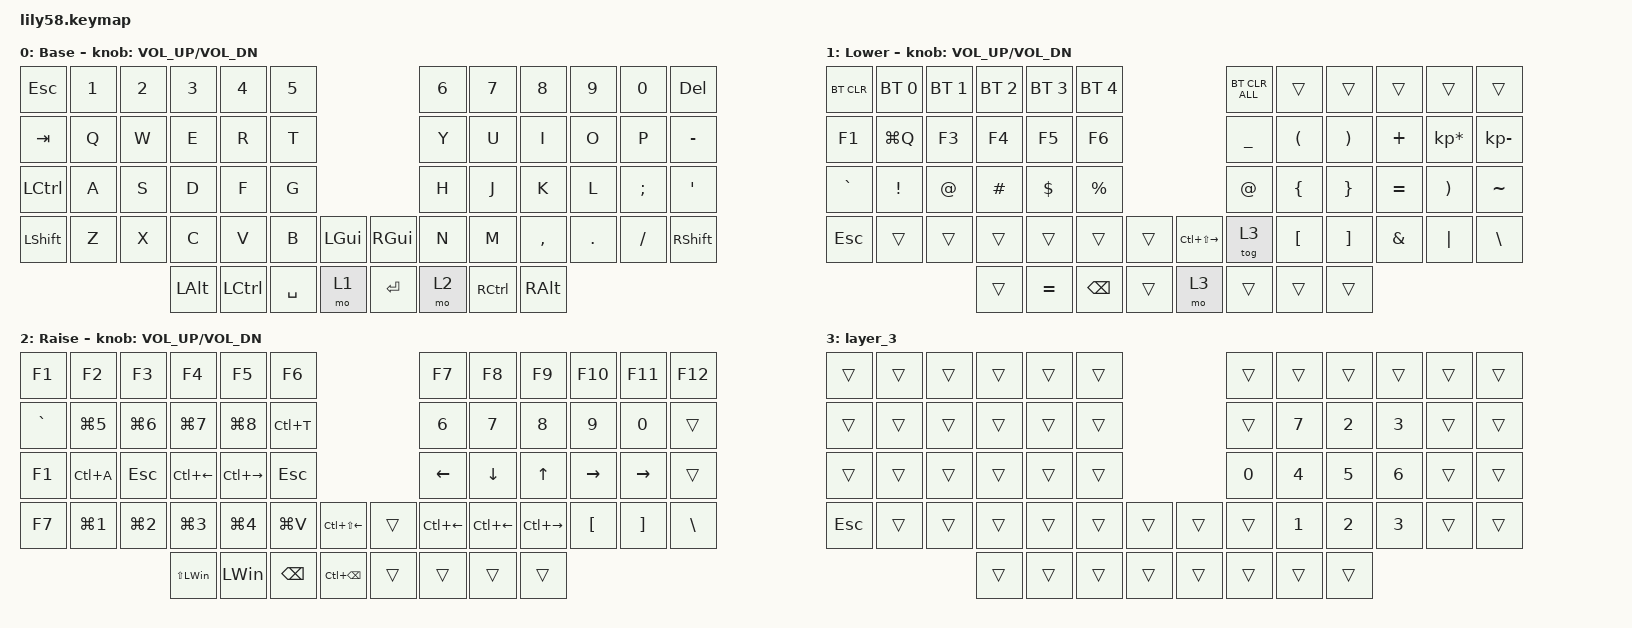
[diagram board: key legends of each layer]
/*
 * Copyright (c) 2020 The ZMK Contributors
 *
 * SPDX-License-Identifier: MIT
 */

#include <behaviors.dtsi>
#include <dt-bindings/zmk/bt.h>
#include <dt-bindings/zmk/keys.h>

/ {
    keymap {
        compatible = "zmk,keymap";

        default_layer {
            // ------------------------------------------------------------------------------------------------------------
            // |  ESC  |  1  |  2  |  3   |  4   |  5   |                   |  6   |  7    |  8    |  9   |   0   |   `   |
            // |  TAB  |  Q  |  W  |  E   |  R   |  T   |                   |  Y   |  U    |  I    |  O   |   P   |   -   |
            // |  CTRL |  A  |  S  |  D   |  F   |  G   |                   |  H   |  J    |  K    |  L   |   ;   |   '   |
            // | SHIFT |  Z  |  X  |  C   |  V   |  B   |   "["  |  |  "]"  |  N   |  M    |  ,    |  .   |   /   | SHIFT |
            //                     | ALT  | GUI  | LOWER|  SPACE |  | ENTER | RAISE| BSPC  | GUI   |

            display-name = "Base";
            bindings = <
&kp ESC    &kp N1  &kp N2  &kp N3        &kp N4            &kp N5                                    &kp N6  &kp N7             &kp N8         &kp N9   &kp N0    &kp DEL
&kp TAB    &kp Q   &kp W   &kp E         &kp R             &kp T                                     &kp Y   &kp U              &kp I          &kp O    &kp P     &kp MINUS
&kp LCTRL  &kp A   &kp S   &kp D         &kp F             &kp G                                     &kp H   &kp J              &kp K          &kp L    &kp SEMI  &kp SQT
&kp LSHFT  &kp Z   &kp X   &kp C         &kp V             &kp B      &kp LEFT_GUI    &kp RIGHT_GUI  &kp N   &kp M              &kp COMMA      &kp DOT  &kp FSLH  &kp RSHFT
                           &kp LEFT_ALT  &kp LEFT_CONTROL  &kp SPACE  &mo 1           &kp RET        &mo 2   &kp RIGHT_CONTROL  &kp RIGHT_ALT
            >;

            sensor-bindings = <&inc_dec_kp C_VOL_UP C_VOL_DN>;
        };

        lower_layer {
            // ------------------------------------------------------------------------------------------------------------
            // | BTCLR | BT1 | BT2 |  BT3 |  BT4 |  BT5 |                   |      |       |       |      |       |       |
            // |  F1   |  F2 |  F3 |  F4  |  F5  |  F6  |                   |  F7  |  F8   |  F9   |  F10 |  F11  |  F12  |
            // |   `   |  !  |  @  |  #   |  $   |  %   |                   |  ^   |  &    |  *    |  (   |   )   |   ~   |
            // |       |     |     |      |      |      |        |  |       |      |  _    |  +    |  {   |   }   |  "|"  |
            //                     |      |      |      |        |  |       |      |       |       |

            display-name = "Lower";
            bindings = <
&bt BT_CLR  &bt BT_SEL 0  &bt BT_SEL 1  &bt BT_SEL 2  &bt BT_SEL 3  &bt BT_SEL 4                                &bt BT_CLR_ALL  &trans                &trans                 &trans         &trans           &trans
&kp F1      &kp LG(Q)     &kp F3        &kp F4        &kp F5        &kp F6                                      &kp UNDER       &kp LEFT_PARENTHESIS  &kp RIGHT_PARENTHESIS  &kp PLUS       &kp KP_MULTIPLY  &kp KP_MINUS
&kp GRAVE   &kp EXCL      &kp AT        &kp HASH      &kp DOLLAR    &kp PRCNT                                   &kp AT          &kp LEFT_BRACE        &kp RIGHT_BRACE        &kp EQUAL      &kp RPAR         &kp TILDE
&kp ESC     &trans        &trans        &trans        &trans        &trans         &trans    &kp LC(LS(RIGHT))  &tog 3          &kp LEFT_BRACKET      &kp RIGHT_BRACKET      &kp AMPERSAND  &kp PIPE         &kp BACKSLASH
                                        &trans        &kp EQUAL     &kp BACKSPACE  &trans    &mo 3              &trans          &trans                &trans
            >;

            sensor-bindings = <&inc_dec_kp C_VOL_UP C_VOL_DN>;
        };

        raise_layer {
            // ------------------------------------------------------------------------------------------------------------
            // |       |     |     |      |      |      |                   |      |       |       |      |       |       |
            // |   `   |  1  |  2  |  3   |  4   |  5   |                   |  6   |   7   |   8   |  9   |   0   |       |
            // |   F1  |  F2 |  F3 |  F4  |  F5  |  F6  |                   |      |   <-  |   v   |  ^   |  ->   |       |
            // |   F7  |  F8 |  F9 |  F10 |  F11 |  F12 |        |  |       |  +   |   -   |   =   |  [   |   ]   |   \   |
            //                     |      |      |      |        |  |       |      |       |       |

            display-name = "Raise";
            bindings = <
&kp F1     &kp F2            &kp F3            &kp F4            &kp F5            &kp F6                                           &kp F7              &kp F8        &kp F9         &kp F10    &kp F11    &kp F12
&kp GRAVE  &kp LG(N5)        &kp LG(NUMBER_6)  &kp LG(N7)        &kp LG(N8)        &kp LC(T)                                        &kp N6              &kp N7        &kp N8         &kp N9     &kp N0     &trans
&kp F1     &kp LC(A)         &kp ESC           &kp LC(LEFT)      &kp LC(RIGHT)     &kp ESCAPE                                       &kp LEFT            &kp DOWN      &kp UP_ARROW   &kp RIGHT  &kp RIGHT  &trans
&kp F7     &kp LG(NUMBER_1)  &kp LG(NUMBER_2)  &kp LG(NUMBER_3)  &kp LG(NUMBER_4)  &kp LG(V)      &kp LC(LS(LEFT_ARROW))    &trans  &kp LC(LEFT_ARROW)  &kp LC(LEFT)  &kp LC(RIGHT)  &kp LBKT   &kp RBKT   &kp BSLH
                                               &kp LS(LEFT_WIN)  &kp LEFT_WIN      &kp BACKSPACE  &kp LC(BACKSPACE)         &trans  &trans              &trans        &trans
            >;

            sensor-bindings = <&inc_dec_kp C_VOL_UP C_VOL_DN>;
        };

        layer_3 {
            bindings = <
&trans      &trans  &trans  &trans  &trans  &trans                    &trans  &trans        &trans        &trans        &trans  &trans
&trans      &trans  &trans  &trans  &trans  &trans                    &trans  &kp N7        &kp NUMBER_2  &kp NUMBER_3  &trans  &trans
&trans      &trans  &trans  &trans  &trans  &trans                    &kp N0  &kp NUMBER_4  &kp N5        &kp NUMBER_6  &trans  &trans
&kp ESCAPE  &trans  &trans  &trans  &trans  &trans  &trans    &trans  &trans  &kp NUMBER_1  &kp NUMBER_2  &kp NUMBER_3  &trans  &trans
                            &trans  &trans  &trans  &trans    &trans  &trans  &trans        &trans
            >;
        };
    };
};
